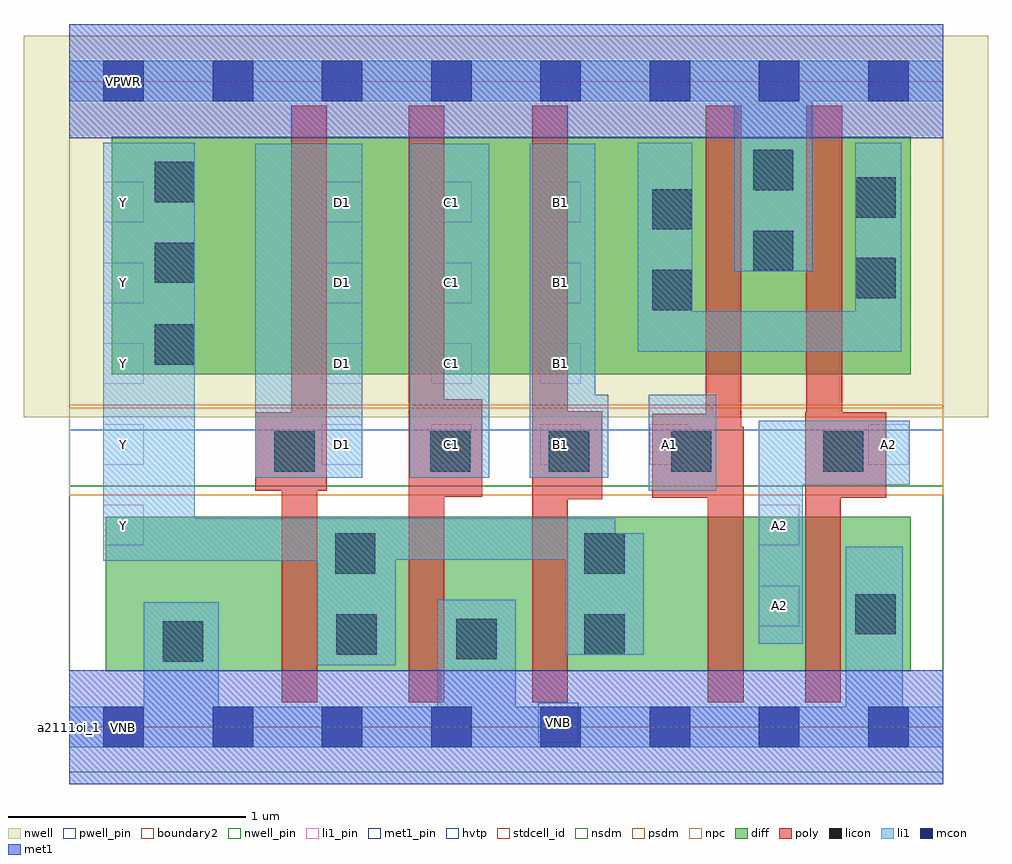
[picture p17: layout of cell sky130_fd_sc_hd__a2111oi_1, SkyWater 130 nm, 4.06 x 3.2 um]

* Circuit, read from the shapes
.subckt sky130_fd_sc_hd__a2111oi_1 A1 A2 B1 C1 D1 VGND VNB VPB VPWR Y
XM1 Y D1 VGND VNB sky130_fd_pr__nfet_01v8 w=0.65 l=0.15
XM2 VGND C1 Y VNB sky130_fd_pr__nfet_01v8 w=0.65 l=0.15
XM3 Y B1 VGND VNB sky130_fd_pr__nfet_01v8 w=0.65 l=0.15
XM4 n1 A1 Y VNB sky130_fd_pr__nfet_01v8 w=0.65 l=0.15
XM5 VGND A2 n1 VNB sky130_fd_pr__nfet_01v8 w=0.65 l=0.15
XM6 n2 D1 Y VPB sky130_fd_pr__pfet_01v8_hvt w=1 l=0.15
XM7 n3 C1 n2 VPB sky130_fd_pr__pfet_01v8_hvt w=1 l=0.15
XM8 n4 B1 n3 VPB sky130_fd_pr__pfet_01v8_hvt w=1 l=0.15
XM9 VPWR A1 n4 VPB sky130_fd_pr__pfet_01v8_hvt w=1 l=0.15
XM10 n4 A2 VPWR VPB sky130_fd_pr__pfet_01v8_hvt w=1 l=0.15
.ends

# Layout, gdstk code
import gdstk
lib = gdstk.Library(unit=1e-6, precision=1e-09)
def R(c, l, rs):  # rectangles x0, y0, x1, y1
    for r in rs: c.add(gdstk.rectangle(r[:2], r[2:], *l))
def A(c, l, x, y, w, h, nx, ny, dx, dy):  # array of equal rectangles
    R(c, l, [(x+i*dx, y+j*dy, x+i*dx+w, y+j*dy+h) for i in range(nx) for j in range(ny)])
def P(c, l, *ps):  # polygons
    for p in ps: c.add(gdstk.Polygon(p, *l))
nwell_pin = (64, 16)
nwell = (64, 20)
diff = (65, 20)
poly = (66, 20)
licon = (66, 44)
li1_pin = (67, 16)
li1 = (67, 20)
mcon = (67, 44)
met1_pin = (68, 16)
met1 = (68, 20)
hvtp = (78, 44)
stdcell_id = (81, 4)
nsdm = (93, 44)
psdm = (94, 20)
npc = (95, 20)
pwell_pin = (122, 16)
boundary2 = (236, 0)

sky130_fd_sc_hd__a2111oi = lib.new_cell('sky130_fd_sc_hd__a2111oi_1')
R(sky130_fd_sc_hd__a2111oi, nwell_pin, [(0.145,2.635,0.315,2.805)])
R(sky130_fd_sc_hd__a2111oi, nwell, [(-0.19,1.305,3.87,2.91)])
R(sky130_fd_sc_hd__a2111oi, diff, [(0.155,0.235,3.545,0.885), (0.18,1.485,3.545,2.485)])
P(sky130_fd_sc_hd__a2111oi, poly, [(2.84,1.265),(2.83,1.265),(2.83,2.615),(2.68,2.615),(2.68,1.32),(2.455,1.32),(2.455,0.965),(2.69,0.965),(2.69,0.105),(2.84,0.105)],
  [(1.74,1.38),(1.58,1.38),(1.58,2.615),(1.43,2.615),(1.43,0.105),(1.58,0.105),(1.58,0.97),(1.74,0.97)],
  [(1.085,2.615),(0.935,2.615),(0.935,1.325),(0.785,1.325),(0.785,0.995),(0.895,0.995),(0.895,0.105),(1.045,0.105),(1.045,0.995),(1.085,0.995)],
  [(3.44,1.325),(3.255,1.325),(3.255,2.615),(3.105,2.615),(3.105,1.325),(3.1,1.325),(3.1,0.105),(3.25,0.105),(3.25,0.965),(3.44,0.965)],
  [(2.245,1.33),(2.1,1.33),(2.1,2.615),(1.95,2.615),(1.95,0.105),(2.1,0.105),(2.1,0.96),(2.245,0.96)])
R(sky130_fd_sc_hd__a2111oi, licon, [(0.395,0.275,0.565,0.445), (1.63,0.285,1.8,0.455), (1.125,0.305,1.295,0.475), (2.17,0.305,2.34,0.475), (3.31,0.39,3.48,0.56), (1.12,0.645,1.29,0.815), (2.17,0.645,2.34,0.815), (0.865,1.075,1.035,1.245), (1.52,1.075,1.69,1.245), (2.02,1.075,2.19,1.245), (2.535,1.075,2.705,1.245), (3.175,1.075,3.345,1.245), (0.36,1.525,0.53,1.695), (2.455,1.755,2.625,1.925), (3.31,1.805,3.48,1.975), (0.36,1.87,0.53,2.04), (2.88,1.92,3.05,2.09), (2.455,2.095,2.625,2.265), (3.31,2.145,3.48,2.315), (0.36,2.21,0.53,2.38), (2.88,2.26,3.05,2.43)])
A(sky130_fd_sc_hd__a2111oi, li1_pin, 0.145, 0.765, 0.17, 0.17, 1, 5, 0, 0.34)
A(sky130_fd_sc_hd__a2111oi, li1_pin, 1.065, 1.105, 0.17, 0.17, 4, 1, 0.46, 0)
A(sky130_fd_sc_hd__a2111oi, li1_pin, 1.065, 1.445, 0.17, 0.17, 3, 3, 0.46, 0.34)
R(sky130_fd_sc_hd__a2111oi, li1_pin, [(2.905,0.425,3.075,0.595), (2.905,0.765,3.075,0.935), (3.365,1.105,3.535,1.275)])
R(sky130_fd_sc_hd__a2111oi, li1, [(2.44,0.995,2.725,1.4), (0.785,1.05,1.235,2.455), (1.435,1.05,1.77,2.455)])
P(sky130_fd_sc_hd__a2111oi, li1, [(2.27,1.4),(2.215,1.4),(2.215,2.455),(1.94,2.455),(1.94,1.05),(2.27,1.05)],
  [(3.68,2.805),(0,2.805),(0,2.635),(2.8,2.635),(2.8,1.92),(3.13,1.92),(3.13,2.635),(3.68,2.635)],
  [(3.68,0.085),(3.51,0.085),(3.51,0.76),(3.27,0.76),(3.27,0.085),(1.88,0.085),(1.88,0.535),(1.55,0.535),(1.55,0.085),(0.63,0.085),(0.63,0.525),(0.315,0.525),(0.315,0.085),(0,0.085),(0,-0.085),(3.68,-0.085)],
  [(2.3,0.88),(0.53,0.88),(0.53,2.46),(0.145,2.46),(0.145,0.7),(1.045,0.7),(1.045,0.26),(1.375,0.26),(1.375,0.705),(2.09,0.705),(2.09,0.305),(2.42,0.305),(2.42,0.815),(2.3,0.815)],
  [(3.505,2.46),(3.31,2.46),(3.31,1.75),(2.625,1.75),(2.625,2.46),(2.395,2.46),(2.395,1.58),(3.505,1.58)],
  [(2.905,0.35),(2.905,1.29),(3.54,1.29),(3.54,1.02),(3.09,1.02),(3.09,0.35)])
A(sky130_fd_sc_hd__a2111oi, mcon, 0.145, -0.085, 0.17, 0.17, 8, 2, 0.46, 2.72)
R(sky130_fd_sc_hd__a2111oi, met1_pin, [(0.145,-0.085,0.315,0.085), (0.145,2.635,0.315,2.805)])
R(sky130_fd_sc_hd__a2111oi, hvtp, [(0,1.25,3.68,2.72)])
R(sky130_fd_sc_hd__a2111oi, stdcell_id, [(0,0,3.68,2.72)])
R(sky130_fd_sc_hd__a2111oi, nsdm, [(0,-0.19,3.68,1.015)])
R(sky130_fd_sc_hd__a2111oi, psdm, [(0,1.355,3.68,2.91)])
R(sky130_fd_sc_hd__a2111oi, npc, [(0,0.975,3.68,1.345)])
R(sky130_fd_sc_hd__a2111oi, pwell_pin, [(0.145,-0.085,0.315,0.085), (1.975,-0.067,2.145,0.103)])
R(sky130_fd_sc_hd__a2111oi, boundary2, [(0,0,3.68,2.72)])
sky130_fd_sc_hd__a2111oi.add(gdstk.FlexPath([(0,0),(3.68,0)], 0.48, ends="flush", simple_path=True, layer=68, datatype=20))  # met1
sky130_fd_sc_hd__a2111oi.add(gdstk.FlexPath([(0,2.72),(3.68,2.72)], 0.48, ends="flush", simple_path=True, layer=68, datatype=20))  # met1
sky130_fd_sc_hd__a2111oi.add(gdstk.Label('B1', (2.07,1.53), layer=67, texttype=5))
sky130_fd_sc_hd__a2111oi.add(gdstk.Label('D1', (1.15,2.21), layer=67, texttype=5))
sky130_fd_sc_hd__a2111oi.add(gdstk.Label('B1', (2.07,1.19), layer=67, texttype=5))
sky130_fd_sc_hd__a2111oi.add(gdstk.Label('C1', (1.61,1.19), layer=67, texttype=5))
sky130_fd_sc_hd__a2111oi.add(gdstk.Label('Y', (0.23,0.85), layer=67, texttype=5))
sky130_fd_sc_hd__a2111oi.add(gdstk.Label('A2', (3.45,1.19), layer=67, texttype=5))
sky130_fd_sc_hd__a2111oi.add(gdstk.Label('A1', (2.53,1.19), layer=67, texttype=5))
sky130_fd_sc_hd__a2111oi.add(gdstk.Label('D1', (1.15,1.87), layer=67, texttype=5))
sky130_fd_sc_hd__a2111oi.add(gdstk.Label('D1', (1.15,1.53), layer=67, texttype=5))
sky130_fd_sc_hd__a2111oi.add(gdstk.Label('D1', (1.15,1.19), layer=67, texttype=5))
sky130_fd_sc_hd__a2111oi.add(gdstk.Label('C1', (1.61,1.53), layer=67, texttype=5))
sky130_fd_sc_hd__a2111oi.add(gdstk.Label('C1', (1.61,1.87), layer=67, texttype=5))
sky130_fd_sc_hd__a2111oi.add(gdstk.Label('C1', (1.61,2.21), layer=67, texttype=5))
sky130_fd_sc_hd__a2111oi.add(gdstk.Label('B1', (2.07,1.87), layer=67, texttype=5))
sky130_fd_sc_hd__a2111oi.add(gdstk.Label('B1', (2.07,2.21), layer=67, texttype=5))
sky130_fd_sc_hd__a2111oi.add(gdstk.Label('Y', (0.23,1.19), layer=67, texttype=5))
sky130_fd_sc_hd__a2111oi.add(gdstk.Label('Y', (0.23,1.53), layer=67, texttype=5))
sky130_fd_sc_hd__a2111oi.add(gdstk.Label('Y', (0.23,1.87), layer=67, texttype=5))
sky130_fd_sc_hd__a2111oi.add(gdstk.Label('Y', (0.23,2.21), layer=67, texttype=5))
sky130_fd_sc_hd__a2111oi.add(gdstk.Label('A2', (2.99,0.85), layer=67, texttype=5))
sky130_fd_sc_hd__a2111oi.add(gdstk.Label('A2', (2.99,0.51), layer=67, texttype=5))
sky130_fd_sc_hd__a2111oi.add(gdstk.Label('VNB', (0.23,0), layer=64, texttype=59))
sky130_fd_sc_hd__a2111oi.add(gdstk.Label('VNB', (2.06,0.018), layer=64, texttype=59))
sky130_fd_sc_hd__a2111oi.add(gdstk.Label('VPWR', (0.23,2.72), layer=68, texttype=5))
sky130_fd_sc_hd__a2111oi.add(gdstk.Label('VGND', (0.23,0), layer=68, texttype=5))
sky130_fd_sc_hd__a2111oi.add(gdstk.Label('VPB', (0.23,2.72), layer=64, texttype=5))
sky130_fd_sc_hd__a2111oi.add(gdstk.Label('a2111oi_1', (0,0), layer=83, texttype=44))

lib.write_gds('sky130_fd_sc_hd__a2111oi_1.gds')
